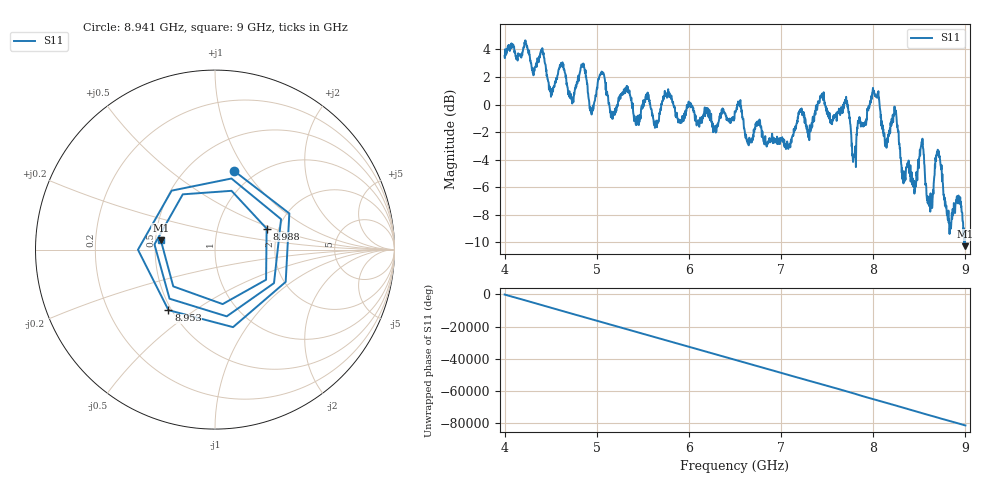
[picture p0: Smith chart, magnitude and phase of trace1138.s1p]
! Created with skrf 1.8.0 (http://scikit-rf.org).
# Hz S RI R 50.0
!freq ReS11 ImS11
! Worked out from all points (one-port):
!   1601 points, 4 GHz to 9 GHz, reference 50 ohm
!   lowest |S11| = -10.3 dB at 9 GHz (marker M1), VSWR 1.88, Z = 26.7 + j3.07 ohm
!   |S11| at or under -10 dB: 8.987203 GHz to 8.988878 GHz (1.676 MHz wide, 0.0186 % of centre); 8.992759 GHz to end of sweep
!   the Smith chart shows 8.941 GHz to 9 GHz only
!   S11 on the Smith chart (normalised r, x): 8.941 GHz: 0.80, +0.88; 8.953 GHz: 0.48, -0.40; 8.988 GHz: 1.73, +0.45; 9 GHz: 0.53, +0.06
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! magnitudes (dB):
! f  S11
! 4 GHz  3.5
! 4.406 GHz  3.9
! 4.506 GHz  1.0
! 4.625 GHz  2.8
! 4.725 GHz  0.5
! 4.847 GHz  2.9
! 4.944 GHz  -0.7
! 5.053 GHz  2.4
! 5.162 GHz  -0.7
! 5.25 GHz  0.7
! 5.875 GHz  -1.0
! 6.5 GHz  -0.5
! 7.125 GHz  -2.2
! 7.444 GHz  0.8
! 7.75 GHz  -1.4
! 7.791 GHz  -3.7
! 8.031 GHz  0.6
! 8.238 GHz  -0.6
! 8.375 GHz  -4.3
! 8.456 GHz  -5.7
! 8.528 GHz  -2.7
! 8.616 GHz  -7.1
! 8.7 GHz  -3.3
! 8.822 GHz  -8.3
! 8.941 GHz  -6.9
! 8.953 GHz  -7.4
! 8.988 GHz  -10.2
! 9 GHz  -10.3
